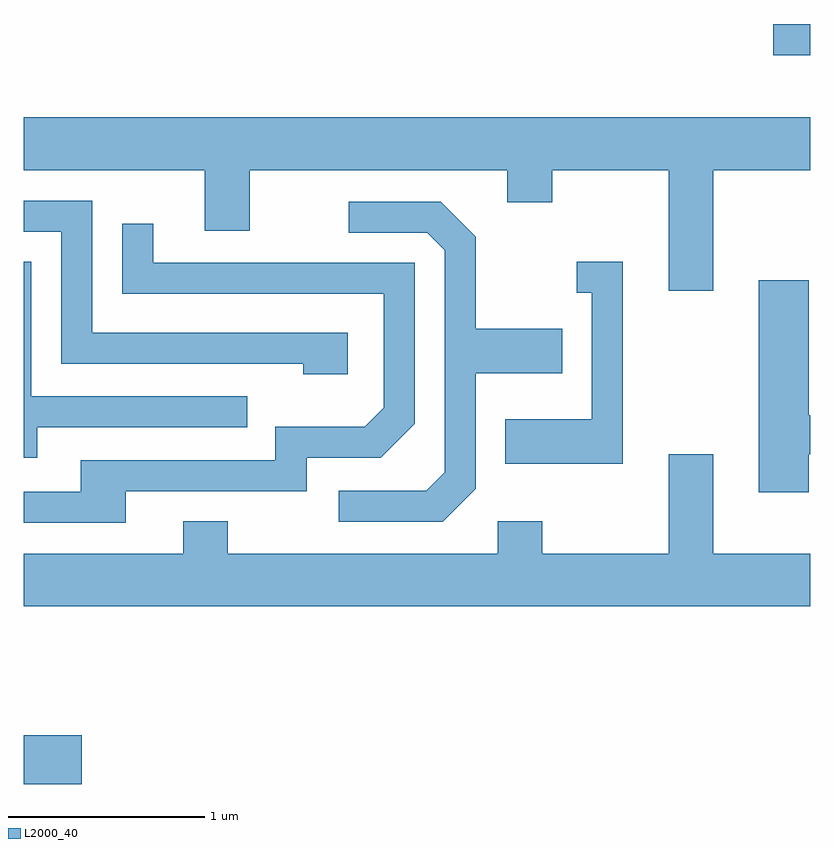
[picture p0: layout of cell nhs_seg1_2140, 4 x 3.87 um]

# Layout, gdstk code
import gdstk
lib = gdstk.Library(unit=1e-6, precision=1e-09)
def R(c, l, rs):  # rectangles x0, y0, x1, y1
    for r in rs: c.add(gdstk.rectangle(r[:2], r[2:], *l))
def P(c, l, *ps):  # polygons
    for p in ps: c.add(gdstk.Polygon(p, *l))
L2000_40 = (2000, 40)

nhs_seg1_2140 = lib.new_cell('nhs_seg1_2140')
R(nhs_seg1_2140, L2000_40, [(249.611,969.712,249.904,969.959), (253.423,973.421,253.611,973.579)])
P(nhs_seg1_2140, L2000_40, [(249.611,972.836),(250.531,972.836),(250.531,972.526),(250.759,972.526),(250.759,972.836),(252.071,972.836),(252.071,972.671),(252.299,972.671),(252.299,972.836),(252.891,972.836),(252.891,972.221),(253.119,972.221),(253.119,972.836),(253.611,972.836),(253.611,973.104),(249.611,973.104)],
  [(251.259,972.009),(249.959,972.009),(249.959,972.679),(249.611,972.679),(249.611,972.521),(249.801,972.521),(249.801,971.851),(251.031,971.851),(251.031,971.796),(251.259,971.796)],
  [(251.909,971.214),(251.909,971.801),(252.349,971.801),(252.349,972.029),(251.909,972.029),(251.909,972.497),(251.732,972.674),(251.263,972.674),(251.263,972.516),(251.664,972.516),(251.751,972.429),(251.751,971.297),(251.659,971.204),(251.213,971.204),(251.213,971.046),(251.742,971.046)],
  [(250.129,971.201),(251.049,971.201),(251.049,971.371),(251.427,971.371),(251.599,971.544),(251.599,972.364),(250.269,972.364),(250.269,972.563),(250.111,972.563),(250.111,972.206),(251.441,972.206),(251.441,971.627),(251.344,971.529),(250.891,971.529),(250.891,971.359),(249.901,971.359),(249.901,971.199),(249.611,971.199),(249.611,971.041),(250.129,971.041)],
  [(249.679,971.526),(250.748,971.526),(250.748,971.684),(249.649,971.684),(249.649,972.369),(249.611,972.369),(249.611,971.371),(249.679,971.371)],
  [(252.659,972.369),(252.423,972.369),(252.423,972.211),(252.501,972.211),(252.501,971.569),(252.061,971.569),(252.061,971.341),(252.659,971.341)],
  [(253.604,971.391),(253.611,971.391),(253.611,971.589),(253.604,971.589),(253.604,972.274),(253.351,972.274),(253.351,971.196),(253.604,971.196)],
  [(253.611,970.884),(253.119,970.884),(253.119,971.389),(252.891,971.389),(252.891,970.884),(252.249,970.884),(252.249,971.049),(252.021,971.049),(252.021,970.884),(250.649,970.884),(250.649,971.049),(250.421,971.049),(250.421,970.884),(249.611,970.884),(249.611,970.616),(253.611,970.616)])

lib.write_gds('nhs_seg1_2140.gds')
